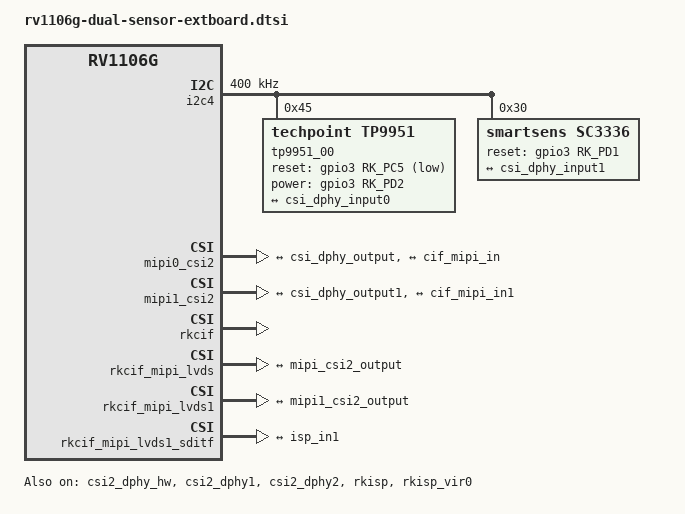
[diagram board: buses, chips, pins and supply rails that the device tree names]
// SPDX-License-Identifier: (GPL-2.0+ OR MIT)
/*
 * Copyright (c) 2023 Rockchip Electronics Co., Ltd.
 *
 * Version  Sensor  I2C_ADDR   Lanes
 * v1.0.0   os04a10   0x36    lane0~1(dphy1)
 *          sc4336    0x30    lane2~3(dphy2)
 * v1.1.0   gc2053    0x37    lane0~1(dphy1)
 *          gc2053    0x3f    lane2~3(dphy2)
 */

&csi2_dphy_hw {
	status = "okay";
};

&csi2_dphy1 {
	status = "okay";

	ports {
		#address-cells = <1>;
		#size-cells = <0>;

		port@0 {
			reg = <0>;
			#address-cells = <1>;
			#size-cells = <0>;

			csi_dphy_input0: endpoint@1 {
				reg = <1>;
				remote-endpoint = <&ahd_out>;
				data-lanes = <1 2>;
			};
		};

		port@1 {
			reg = <1>;
			#address-cells = <1>;
			#size-cells = <0>;

			csi_dphy_output: endpoint@0 {
				reg = <0>;
				remote-endpoint = <&mipi_csi2_input>;
			};
		};
	};
};

&csi2_dphy2 {
	status = "okay";

	ports {
		#address-cells = <1>;
		#size-cells = <0>;

		port@0 {
			reg = <0>;
			#address-cells = <1>;
			#size-cells = <0>;

			csi_dphy_input1: endpoint@1 {
				reg = <1>;
				remote-endpoint = <&sc3336_out>;
				data-lanes = <1 2>;
			};
		};

		port@1 {
			reg = <1>;
			#address-cells = <1>;
			#size-cells = <0>;

			csi_dphy_output1: endpoint@0 {
				reg = <0>;
				remote-endpoint = <&mipi1_csi2_input>;
			};
		};
	};
};

&i2c4 {
	status = "okay";
	clock-frequency = <400000>;
	pinctrl-names = "default";
	pinctrl-0 = <&i2c4m2_xfer>;

	tp9951_00: tp9951@45 {
		compatible = "techpoint,tp9951";
		status = "okay";
		reg = <0x45>;
		clocks = <&cru MCLK_REF_MIPI0>;
		clock-names = "xvclk";
		reset-gpios = <&gpio3 RK_PC5 GPIO_ACTIVE_LOW>;
		power-gpios = <&gpio3 RK_PD2 GPIO_ACTIVE_HIGH>;
		pinctrl-names = "default";
		pinctrl-0 = <&mipi_refclk_out0>;
		rockchip,camera-module-index = <1>;
		rockchip,camera-module-facing = "back";
		rockchip,camera-module-name = "tp9951";
		rockchip,camera-module-lens-name = "tp9951";
		port {
			ahd_out: endpoint {
				remote-endpoint = <&csi_dphy_input0>;
				data-lanes = <1 2>;
			};
		};
	};

	sc3336: sc3336@30 {
		compatible = "smartsens,sc3336";
		status = "okay";
		reg = <0x30>;
		clocks = <&cru MCLK_REF_MIPI1>;
		clock-names = "xvclk";
		reset-gpios = <&gpio3 RK_PD1 GPIO_ACTIVE_HIGH>;
		// pwdn-gpios = <&gpio3 RK_PA4 GPIO_ACTIVE_HIGH>;
		pinctrl-names = "default";
		pinctrl-0 = <&mipi_refclk_out1>;
		rockchip,camera-module-index = <0>;
		rockchip,camera-module-facing = "front";
		rockchip,camera-module-name = "OT01";
		rockchip,camera-module-lens-name = "40IRC_F16";
		port {
			sc3336_out: endpoint {
				remote-endpoint = <&csi_dphy_input1>;
				data-lanes = <1 2>;
			};
		};
	};
};

&mipi0_csi2 {
	status = "okay";

	ports {
		#address-cells = <1>;
		#size-cells = <0>;

		port@0 {
			reg = <0>;
			#address-cells = <1>;
			#size-cells = <0>;

			mipi_csi2_input: endpoint@1 {
				reg = <1>;
				remote-endpoint = <&csi_dphy_output>;
			};
		};

		port@1 {
			reg = <1>;
			#address-cells = <1>;
			#size-cells = <0>;

			mipi_csi2_output: endpoint@0 {
				reg = <0>;
				remote-endpoint = <&cif_mipi_in>;
			};
		};
	};
};

&mipi1_csi2 {
	status = "okay";

	ports {
		#address-cells = <1>;
		#size-cells = <0>;

		port@0 {
			reg = <0>;
			#address-cells = <1>;
			#size-cells = <0>;

			mipi1_csi2_input: endpoint@1 {
				reg = <1>;
				remote-endpoint = <&csi_dphy_output1>;
			};
		};

		port@1 {
			reg = <1>;
			#address-cells = <1>;
			#size-cells = <0>;

			mipi1_csi2_output: endpoint@0 {
				reg = <0>;
				remote-endpoint = <&cif_mipi_in1>;
			};
		};
	};
};

&rkcif {
	status = "okay";
	pinctrl-names = "default";
	pinctrl-0 = <&mipi_pins>;
};

&rkcif_mipi_lvds {
	status = "okay";

	port {
		/* MIPI CSI-2 endpoint */
		cif_mipi_in: endpoint {
			remote-endpoint = <&mipi_csi2_output>;
		};
	};
};


&rkcif_mipi_lvds1 {
	status = "okay";

	port {
		/* MIPI CSI-2 endpoint */
		cif_mipi_in1: endpoint {
			remote-endpoint = <&mipi1_csi2_output>;
		};
	};
};

&rkcif_mipi_lvds1_sditf {
	status = "okay";

	port {
		/* MIPI CSI-2 endpoint */
		mipi_lvds1_sditf: endpoint {
			remote-endpoint = <&isp_in1>;
		};
	};
};

&rkisp {
	status = "okay";
};


&rkisp_vir0 {
	status = "okay";

	port@0 {
		isp_in1: endpoint {
			remote-endpoint = <&mipi_lvds1_sditf>;
		};
	};
};
